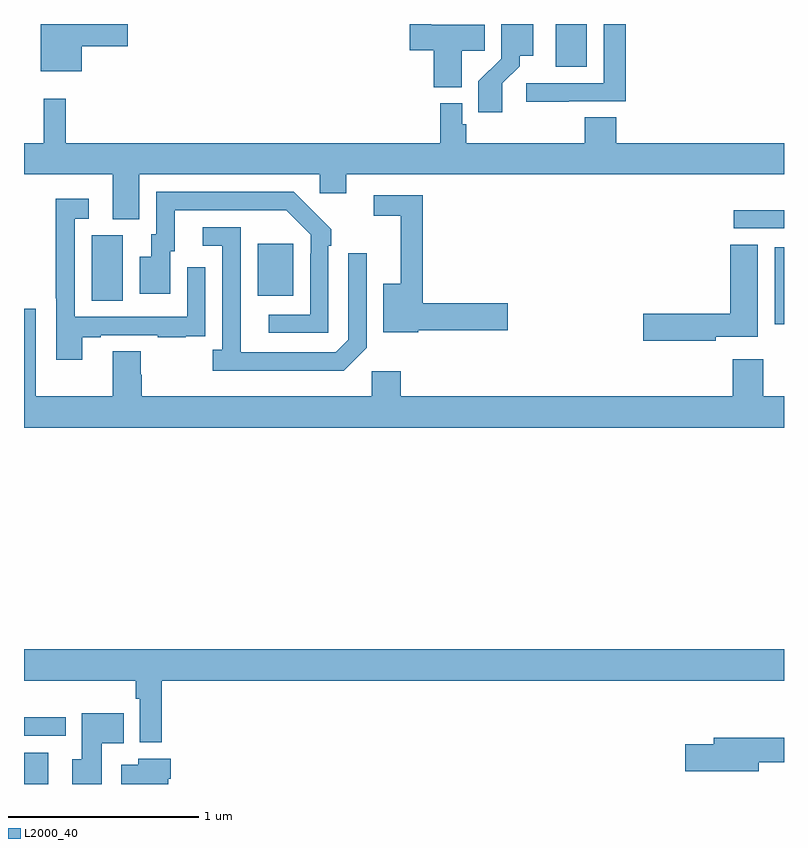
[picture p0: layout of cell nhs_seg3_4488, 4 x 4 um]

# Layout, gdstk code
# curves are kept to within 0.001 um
import gdstk
lib = gdstk.Library(unit=1e-6, precision=1e-09)
def R(c, l, rs):  # rectangles x0, y0, x1, y1
    for r in rs: c.add(gdstk.rectangle(r[:2], r[2:], *l))
def P(c, l, *ps):  # polygons
    for p in ps: c.add(gdstk.Polygon(p, *l))
L2000_40 = (2000, 40)

nhs_seg3_4488 = lib.new_cell('nhs_seg3_4488')
R(nhs_seg3_4488, L2000_40, [(351,672.4,351.127,672.565), (351,672.654,351.22,672.752), (354.95,674.819,355,675.226), (351.356,674.944,351.52,675.288), (352.229,674.969,352.417,675.244), (354.735,675.324,355,675.42), (353.798,676.174,353.962,676.4)])
P(nhs_seg3_4488, L2000_40, [(353.867,675.993),(354.167,675.993),(354.167,676.4),(354.051,676.4),(354.051,676.089),(353.643,676.089),(353.643,675.991),(353.867,675.991)],
  [(353.305,676.258),(353.426,676.258),(353.426,676.396),(353.143,676.396),(353.143,676.4),(353.031,676.4),(353.031,676.262),(353.156,676.262),(353.156,676.067),(353.305,676.067)],
  [(353.518,676.087),(353.608,676.177),(353.608,676.232),(353.68,676.232),(353.68,676.4),(353.513,676.4),(353.513,676.368),(353.511,676.368),(353.511,676.217),(353.392,676.098),(353.392,675.936),(353.518,675.936)],
  [(351.304,676.283),(351.547,676.283),(351.547,676.4),(351.089,676.4),(351.089,676.151),(351.304,676.151)],
  [(351.607,675.608),(352.557,675.608),(352.557,675.51),(352.696,675.51),(352.696,675.608),(355,675.608),(355,675.772),(354.116,675.772),(354.116,675.908),(353.951,675.908),(353.951,675.772),(353.327,675.772),(353.327,675.873),(353.307,675.873),(353.307,675.982),(353.191,675.982),(353.191,675.772),(351.221,675.772),(351.221,676.006),(351.104,676.006),(351.104,675.772),(351,675.772),(351,675.608),(351.467,675.608),(351.467,675.373),(351.607,675.373)],
  [(352.602,675.233),(352.617,675.233),(352.617,675.321),(352.42,675.516),(351.696,675.516),(351.696,675.294),(351.671,675.294),(351.671,675.175),(351.608,675.175),(351.608,674.979),(351.769,674.979),(351.769,675.204),(351.793,675.204),(351.793,675.42),(352.381,675.42),(352.509,675.291),(352.509,675.191),(352.506,675.191),(352.506,674.871),(352.287,674.871),(352.287,674.775),(352.602,674.775)],
  [(353.076,674.788),(353.545,674.788),(353.545,674.93),(353.099,674.93),(353.099,675.498),(352.842,675.498),(352.842,675.39),(352.982,675.39),(352.982,675.034),(352.892,675.034),(352.892,674.777),(353.076,674.777)],
  [(351.307,674.751),(351.403,674.751),(351.403,674.763),(351.703,674.763),(351.703,674.751),(351.851,674.751),(351.851,674.757),(351.953,674.757),(351.953,674.866),(351.954,674.866),(351.954,675.121),(351.858,675.121),(351.858,674.859),(351.267,674.859),(351.267,675.375),(351.34,675.375),(351.34,675.481),(351.166,675.481),(351.166,674.956),(351.171,674.956),(351.171,674.634),(351.307,674.634)],
  [(352.803,674.697),(352.803,675.193),(352.707,675.193),(352.707,674.739),(352.641,674.673),(352.141,674.673),(352.14,675.33),(351.942,675.33),(351.942,675.234),(352.044,675.234),(352.044,674.686),(351.993,674.686),(351.993,674.576),(352.682,674.576)],
  [(354.642,674.753),(354.862,674.753),(354.862,675.239),(354.716,675.239),(354.716,674.876),(354.258,674.876),(354.258,674.734),(354.642,674.734)],
  [(355,674.44),(354.891,674.44),(354.891,674.635),(354.731,674.635),(354.731,674.44),(352.982,674.44),(352.982,674.572),(352.83,674.572),(352.83,674.44),(351.62,674.44),(351.62,674.553),(351.615,674.553),(351.615,674.678),(351.467,674.678),(351.467,674.44),(351.061,674.44),(351.061,674.902),(351,674.902),(351,674.276),(355,674.276)],
  [(351.725,672.944),(355,672.944),(355,673.108),(351,673.108),(351,672.944),(351.589,672.944),(351.589,672.848),(351.609,672.848),(351.609,672.621),(351.725,672.621)],
  [(351.409,672.614),(351.524,672.614),(351.524,672.772),(351.305,672.772),(351.305,672.531),(351.255,672.531),(351.255,672.4),(351.409,672.4)],
  [(354.868,672.514),(355,672.514),(355,672.643),(354.629,672.643),(354.629,672.609),(354.48,672.609),(354.48,672.467),(354.868,672.467)],
  [(351.76,672.428),(351.773,672.428),(351.773,672.532),(351.602,672.532),(351.602,672.502),(351.512,672.502),(351.512,672.4),(351.76,672.4)])

lib.write_gds('nhs_seg3_4488.gds')
